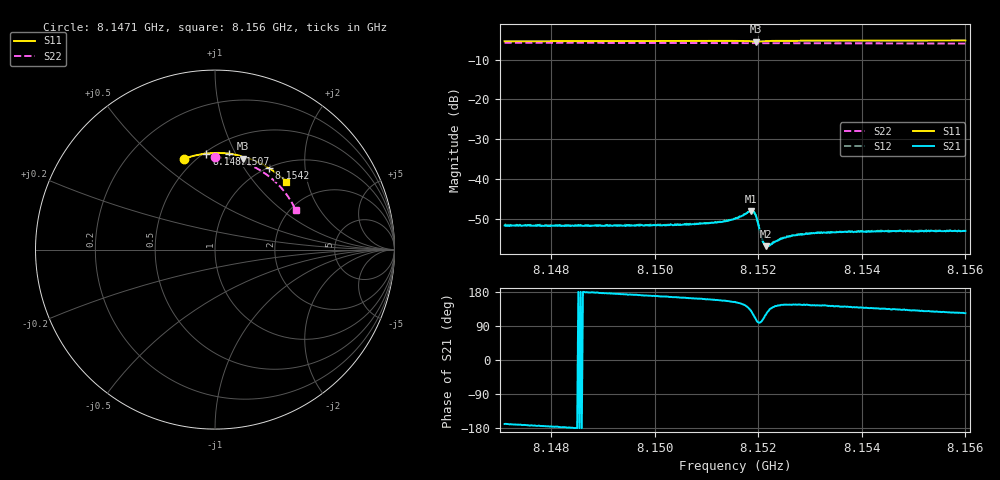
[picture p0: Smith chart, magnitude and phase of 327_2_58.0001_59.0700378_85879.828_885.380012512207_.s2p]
#  HZ  S  RI  R  50.00
! Rohde & Schwarz Vector Network Analyzer
! Rohde-Schwarz,ZNB20-2Port,1311601062101988,3.16
! Created: UTC 3/21/2024, 1:04:57 AM
! freq[Hz]  re:S11  im:S11  re:S21  im:S21  re:S12  im:S12  re:S22  im:S22
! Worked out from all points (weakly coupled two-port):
!   401 points, 8.1471 GHz to 8.156 GHz, reference 50 ohm
!   highest |S21| = -47.93 dB at 8.15186 GHz (marker M1); lowest = -56.7 dB at 8.15215 GHz (marker M2)
!   lowest |S11| = -5.5 dB at 8.15195 GHz (marker M3), VSWR 3.26, Z = 37.2 + j52.4 ohm
!   |S11| at or under -10 dB: nowhere
!   |S22| runs from -6.0 to -5.8 dB; largest |S21 - S12| = 0.00013
!   S11 on the Smith chart (normalised r, x): 8.1471 GHz: 0.44, +0.62; 8.1489 GHz: 0.51, +0.77; 8.1507 GHz: 0.62, +0.94; 8.1542 GHz: 1.01, +1.31; 8.156 GHz: 1.38, +1.49
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8.1471e9  -0.1703 0.5062  -0.00259 -0.000514  -0.00269 -0.0005  -0.00194 0.5136
8.147255e9  -0.1599 0.51  -0.00261 -0.000458  -0.0026 -0.000403  0.00834 0.5135
8.14859e9  -0.0696 0.5324  -0.00263 -7.46e-06  -0.00268 5.33e-05  0.0949 0.5032
8.148902e9  -0.0481 0.5353  -0.00261 9.96e-05  -0.00266 0.000171  0.1146 0.4985
8.150081e9  0.0341 0.5383  -0.00261 0.000547  -0.00262 0.00059  0.1868 0.4745
8.150704e9  0.0774 0.5348  -0.00261 0.000802  -0.00265 0.00082  0.2232 0.4577
8.151238e9  0.1147 0.5286  -0.0027 0.0011  -0.0027 0.00113  0.2532 0.4409
8.15155e9  0.1371 0.5232  -0.00286 0.00145  -0.00285 0.00152  0.27 0.4303
8.151861e9  0.1583 0.5103  -0.00254 0.0031  -0.00253 0.00317  0.2863 0.4186
8.151906e9  0.1587 0.5073  -0.00192 0.00345  -0.00188 0.00349  0.2882 0.4169
8.15195e9  0.1576 0.5062  -0.00111 0.00336  -0.00104 0.0034  0.2906 0.4152
8.151972e9  0.157 0.5065  -0.000699 0.00315  -0.000706 0.00315  0.2916 0.4145
8.152084e9  0.1619 0.5112  -0.000467 0.00163  -0.00042 0.00163  0.2973 0.4105
8.152128e9  0.1655 0.512  -0.000668 0.00134  -0.000675 0.00136  0.2996 0.4091
8.15215e9  0.1674 0.5122  -0.000743 0.00125  -0.000746 0.00129  0.3009 0.4081
8.152217e9  0.1729 0.5119  -0.00102 0.00107  -0.00103 0.00112  0.3042 0.4054
8.152462e9  0.191 0.5074  -0.00149 0.00103  -0.00152 0.00105  0.3162 0.3956
8.152595e9  0.2004 0.5045  -0.0016 0.00107  -0.0016 0.00109  0.3227 0.3899
8.15304e9  0.2297 0.4928  -0.00172 0.00122  -0.00173 0.00125  0.3435 0.371
8.154197e9  0.3007 0.4552  -0.00162 0.00152  -0.00166 0.00154  0.3918 0.3165
8.154531e9  0.3198 0.4424  -0.00156 0.00157  -0.00156 0.00163  0.4044 0.2996
8.156e9  0.3972 0.3773  -0.00125 0.00189  -0.00125 0.00188  0.4496 0.2201
